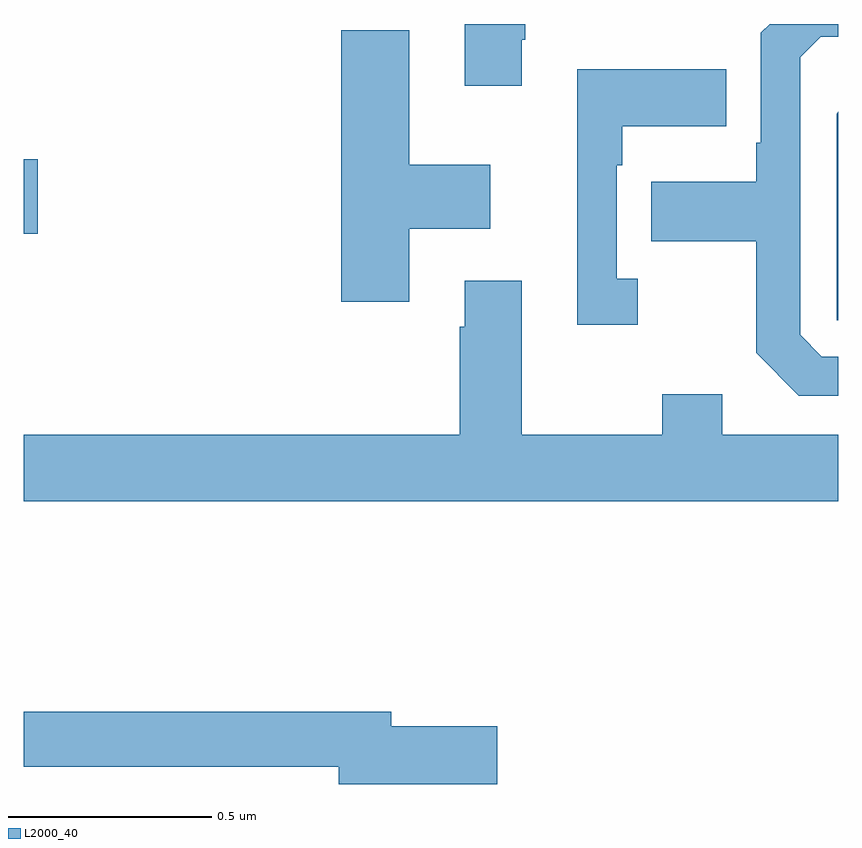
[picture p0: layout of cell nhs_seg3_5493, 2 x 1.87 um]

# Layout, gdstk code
import gdstk
lib = gdstk.Library(unit=1e-6, precision=1e-09)
def R(c, l, rs):  # rectangles x0, y0, x1, y1
    for r in rs: c.add(gdstk.rectangle(r[:2], r[2:], *l))
def P(c, l, *ps):  # polygons
    for p in ps: c.add(gdstk.Polygon(p, *l))
L2000_40 = (2000, 40)

nhs_seg3_5493 = lib.new_cell('nhs_seg3_5493')
R(nhs_seg3_5493, L2000_40, [(179,722.885,179.035,723.068)])
P(nhs_seg3_5493, L2000_40, [(180.223,723.361),(180.231,723.361),(180.231,723.4),(180.083,723.4),(180.083,723.249),(180.223,723.249)],
  [(181,722.583),(180.96,722.583),(180.906,722.637),(180.906,723.318),(180.957,723.369),(181,723.369),(181,723.4),(180.832,723.4),(180.81,723.378),(180.81,723.109),(180.798,723.109),(180.798,723.013),(180.541,723.013),(180.541,722.866),(180.798,722.866),(180.798,722.593),(180.903,722.487),(181,722.487)],
  [(179.947,722.897),(180.145,722.897),(180.145,723.055),(179.947,723.055),(179.947,723.385),(179.78,723.385),(179.78,722.718),(179.947,722.718)],
  [(180.508,722.774),(180.456,722.774),(180.456,723.053),(180.469,723.053),(180.469,723.149),(180.725,723.149),(180.725,723.289),(180.359,723.289),(180.359,722.661),(180.508,722.661)],
  [(181,723.184),(180.996,723.18),(180.996,722.673),(181,722.673)],
  [(181,722.392),(180.715,722.392),(180.715,722.491),(180.568,722.491),(180.568,722.392),(180.223,722.392),(180.223,722.77),(180.083,722.77),(180.083,722.657),(180.071,722.657),(180.071,722.392),(179,722.392),(179,722.228),(181,722.228)],
  [(180.163,721.676),(179.902,721.676),(179.902,721.712),(179,721.712),(179,721.576),(179.774,721.576),(179.774,721.534),(180.163,721.534)])

lib.write_gds('nhs_seg3_5493.gds')
